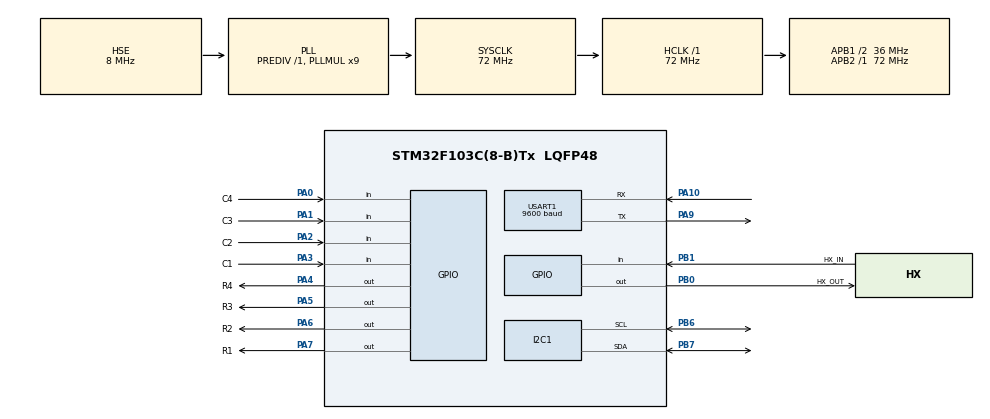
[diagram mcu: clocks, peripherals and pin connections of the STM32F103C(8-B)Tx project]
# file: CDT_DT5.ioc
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Mcu.Family=STM32F1
Mcu.Name=STM32F103C(8-B)Tx
Mcu.Package=LQFP48
NVIC.PriorityGroup=NVIC_PRIORITYGROUP_4
PA0-WKUP.GPIO_Label=C4
PA0-WKUP.GPIO_PuPd=GPIO_PULLUP
PA0-WKUP.Signal=GPIO_Input
PA1.GPIO_Label=C3
PA1.GPIO_PuPd=GPIO_PULLUP
PA1.Signal=GPIO_Input
PA10.Mode=Asynchronous
PA10.Signal=USART1_RX
PA13.Mode=Serial_Wire
PA13.Signal=SYS_JTMS-SWDIO
PA14.Mode=Serial_Wire
PA14.Signal=SYS_JTCK-SWCLK
PA2.GPIO_Label=C2
PA2.GPIO_PuPd=GPIO_PULLUP
PA2.Signal=GPIO_Input
PA3.GPIO_Label=C1
PA3.GPIO_PuPd=GPIO_PULLUP
PA3.Signal=GPIO_Input
PA4.GPIO_Label=R4
PA4.Signal=GPIO_Output
PA5.GPIO_Label=R3
PA5.Signal=GPIO_Output
PA6.GPIO_Label=R2
PA6.Signal=GPIO_Output
PA7.GPIO_Label=R1
PA7.Signal=GPIO_Output
PA9.Mode=Asynchronous
PA9.Signal=USART1_TX
PB0.GPIO_Label=HX_OUT
PB0.Signal=GPIO_Output
PB1.GPIO_Label=HX_IN
PB1.Signal=GPIO_Input
PB6.Mode=I2C
PB6.Signal=I2C1_SCL
PB7.Mode=I2C
PB7.Signal=I2C1_SDA
PD0-OSC_IN.Mode=HSE-External-Oscillator
PD0-OSC_IN.Signal=RCC_OSC_IN
PD1-OSC_OUT.Mode=HSE-External-Oscillator
PD1-OSC_OUT.Signal=RCC_OSC_OUT
ProjectManager.HeapSize=0x200
ProjectManager.StackSize=0x400
ProjectManager.TargetToolchain=MDK-ARM V5.32
RCC.AHBFreq_Value=72000000
RCC.APB1CLKDivider=RCC_HCLK_DIV2
RCC.APB1Freq_Value=36000000
RCC.APB1TimFreq_Value=72000000
RCC.APB2Freq_Value=72000000
RCC.APB2TimFreq_Value=72000000
RCC.HCLKFreq_Value=72000000
RCC.PLLMUL=RCC_PLL_MUL9
RCC.PLLSourceVirtual=RCC_PLLSOURCE_HSE
RCC.SYSCLKFreq_VALUE=72000000
RCC.SYSCLKSource=RCC_SYSCLKSOURCE_PLLCLK
RCC.USBFreq_Value=72000000
USART1.BaudRate=9600
USART1.VirtualMode=VM_ASYNC
VP_TIM1_VS_ClockSourceINT.Mode=Internal
board=custom

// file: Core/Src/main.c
/* USER CODE BEGIN Header */
/**
  ******************************************************************************
  * @file           : main.c
  * @brief          : Main program body
  ******************************************************************************
  * @attention
  *
  * Copyright (c) 2024 STMicroelectronics.
  * All rights reserved.
  *
  * This software is licensed under terms that can be found in the LICENSE file
  * in the root directory of this software component.
  * If no LICENSE file comes with this software, it is provided AS-IS.
  *
  ******************************************************************************
  */
/* USER CODE END Header */
#include "main.h"

/* USER CODE BEGIN Includes */
#include "fonts.h"
#include "ssd1306.h"
#include "Keypad.h"
#include "hx711.h"
#include <stdio.h>
#include <string.h>
/* USER CODE END Includes */

I2C_HandleTypeDef hi2c1;

TIM_HandleTypeDef htim1;

UART_HandleTypeDef huart1;

/* USER CODE BEGIN PV */
hx711_t loadcell;
float weight=0.0;
float unit_price = 0.00;
float total_price=0.00;

int flag_total = 0;
float temp_price = 0.0;

static int in_add_mode = 0;
/* USER CODE END PV */

void SystemClock_Config(void);
static void MX_GPIO_Init(void);
static void MX_TIM1_Init(void);
static void MX_USART1_UART_Init(void);
static void MX_I2C1_Init(void);

int main(void)
{

  /* MCU Configuration--------------------------------------------------------*/

  /* Reset of all peripherals, Initializes the Flash interface and the Systick. */
  HAL_Init();

  /* Configure the system clock */
  SystemClock_Config();

  /* Initialize all configured peripherals */
  MX_GPIO_Init();
  MX_TIM1_Init();
  MX_USART1_UART_Init();
  MX_I2C1_Init();
  /* USER CODE BEGIN 2 */
  // HX7111
  hx711_init(&loadcell, HX_OUT_GPIO_Port, HX_OUT_Pin, HX_IN_GPIO_Port, HX_IN_Pin);
  hx711_coef_set(&loadcell, 36057.14);
  hx711_tare(&loadcell, 10);

  SSD1306_Init();
  /* USER CODE END 2 */

  /* Infinite loop */
  while (1)
  {

    /* USER CODE BEGIN 3 */

	  weight = hx711_weight(&loadcell, 10) - 22.33;
	  if(weight <= 0.0)
	  {
		  weight = 0.0;
	  }
	  SSD1306_UpdateScreen();

	  SSD1306_GotoXY (0, 0);
	  SSD1306_Puts("Wei:", &Font_11x18, 1);
	  SSD1306_Display_Hx (weight, &Font_11x18, 1);
//	  SSD1306_UpdateScreen();
	  SSD1306_GotoXY (0, 20);
	  SSD1306_Puts("Unit:", &Font_11x18, 1);
	  SSD1306_UpdateScreen();
	  get_keypad(&unit_price, weight);

	  SSD1306_Display_Unit (unit_price, &Font_11x18, 1);
	  if(unit_price < 1.0){
		  SSD1306_Puts("               ", &Font_11x18, 1);
	  }
	  SSD1306_UpdateScreen();

	  SSD1306_GotoXY (0, 40);
	  SSD1306_Puts("Total:", &Font_11x18, 1);
	  if(flag_total == 0)
	  {
		  total_price = weight * unit_price;
	  }
	  else
	  {
		  total_price = temp_price;

	  }
	  SSD1306_Display_Price (total_price, &Font_11x18, 1);
	  if(total_price < 1.0){
		  SSD1306_Puts("               ", &Font_11x18, 1);
	  }
	  SSD1306_UpdateScreen();
  }
  /* USER CODE END 3 */
}

void SystemClock_Config(void)
{
  RCC_OscInitTypeDef RCC_OscInitStruct = {0};
  RCC_ClkInitTypeDef RCC_ClkInitStruct = {0};

  /** Initializes the RCC Oscillators according to the specified parameters
  * in the RCC_OscInitTypeDef structure.
  */
  RCC_OscInitStruct.OscillatorType = RCC_OSCILLATORTYPE_HSE;
  RCC_OscInitStruct.HSEState = RCC_HSE_ON;
  RCC_OscInitStruct.HSEPredivValue = RCC_HSE_PREDIV_DIV1;
  RCC_OscInitStruct.HSIState = RCC_HSI_ON;
  RCC_OscInitStruct.PLL.PLLState = RCC_PLL_ON;
  RCC_OscInitStruct.PLL.PLLSource = RCC_PLLSOURCE_HSE;
  RCC_OscInitStruct.PLL.PLLMUL = RCC_PLL_MUL9;
  if (HAL_RCC_OscConfig(&RCC_OscInitStruct) != HAL_OK)
  {
    Error_Handler();
  }

  /** Initializes the CPU, AHB and APB buses clocks
  */
  RCC_ClkInitStruct.ClockType = RCC_CLOCKTYPE_HCLK|RCC_CLOCKTYPE_SYSCLK
                              |RCC_CLOCKTYPE_PCLK1|RCC_CLOCKTYPE_PCLK2;
  RCC_ClkInitStruct.SYSCLKSource = RCC_SYSCLKSOURCE_PLLCLK;
  RCC_ClkInitStruct.AHBCLKDivider = RCC_SYSCLK_DIV1;
  RCC_ClkInitStruct.APB1CLKDivider = RCC_HCLK_DIV2;
  RCC_ClkInitStruct.APB2CLKDivider = RCC_HCLK_DIV1;

  if (HAL_RCC_ClockConfig(&RCC_ClkInitStruct, FLASH_LATENCY_2) != HAL_OK)
  {
    Error_Handler();
  }
}

static void MX_I2C1_Init(void)
{

  hi2c1.Instance = I2C1;
  hi2c1.Init.ClockSpeed = 100000;
  hi2c1.Init.DutyCycle = I2C_DUTYCYCLE_2;
  hi2c1.Init.OwnAddress1 = 0;
  hi2c1.Init.AddressingMode = I2C_ADDRESSINGMODE_7BIT;
  hi2c1.Init.DualAddressMode = I2C_DUALADDRESS_DISABLE;
  hi2c1.Init.OwnAddress2 = 0;
  hi2c1.Init.GeneralCallMode = I2C_GENERALCALL_DISABLE;
  hi2c1.Init.NoStretchMode = I2C_NOSTRETCH_DISABLE;
  if (HAL_I2C_Init(&hi2c1) != HAL_OK)
  {
    Error_Handler();
  }

}

static void MX_TIM1_Init(void)
{

  TIM_ClockConfigTypeDef sClockSourceConfig = {0};
  TIM_MasterConfigTypeDef sMasterConfig = {0};

  htim1.Instance = TIM1;
  htim1.Init.Prescaler = 0;
  htim1.Init.CounterMode = TIM_COUNTERMODE_UP;
  htim1.Init.Period = 65535;
  htim1.Init.ClockDivision = TIM_CLOCKDIVISION_DIV1;
  htim1.Init.RepetitionCounter = 0;
  htim1.Init.AutoReloadPreload = TIM_AUTORELOAD_PRELOAD_DISABLE;
  if (HAL_TIM_Base_Init(&htim1) != HAL_OK)
  {
    Error_Handler();
  }
  sClockSourceConfig.ClockSource = TIM_CLOCKSOURCE_INTERNAL;
  if (HAL_TIM_ConfigClockSource(&htim1, &sClockSourceConfig) != HAL_OK)
  {
    Error_Handler();
  }
  sMasterConfig.MasterOutputTrigger = TIM_TRGO_RESET;
  sMasterConfig.MasterSlaveMode = TIM_MASTERSLAVEMODE_DISABLE;
  if (HAL_TIMEx_MasterConfigSynchronization(&htim1, &sMasterConfig) != HAL_OK)
  {
    Error_Handler();
  }

}

static void MX_USART1_UART_Init(void)
{

  huart1.Instance = USART1;
  huart1.Init.BaudRate = 9600;
  huart1.Init.WordLength = UART_WORDLENGTH_8B;
  huart1.Init.StopBits = UART_STOPBITS_1;
  huart1.Init.Parity = UART_PARITY_NONE;
  huart1.Init.Mode = UART_MODE_TX_RX;
  huart1.Init.HwFlowCtl = UART_HWCONTROL_NONE;
  huart1.Init.OverSampling = UART_OVERSAMPLING_16;
  if (HAL_UART_Init(&huart1) != HAL_OK)
  {
    Error_Handler();
  }

}

static void MX_GPIO_Init(void)
{
  GPIO_InitTypeDef GPIO_InitStruct = {0};

  /* GPIO Ports Clock Enable */
  __HAL_RCC_GPIOD_CLK_ENABLE();
  __HAL_RCC_GPIOA_CLK_ENABLE();
  __HAL_RCC_GPIOB_CLK_ENABLE();

  /*Configure GPIO pin Output Level */
  HAL_GPIO_WritePin(GPIOA, R4_Pin|R3_Pin|R2_Pin|R1_Pin, GPIO_PIN_RESET);

  /*Configure GPIO pin Output Level */
  HAL_GPIO_WritePin(HX_OUT_GPIO_Port, HX_OUT_Pin, GPIO_PIN_RESET);

  /*Configure GPIO pins : C4_Pin C3_Pin C2_Pin C1_Pin */
  GPIO_InitStruct.Pin = C4_Pin|C3_Pin|C2_Pin|C1_Pin;
  GPIO_InitStruct.Mode = GPIO_MODE_INPUT;
  GPIO_InitStruct.Pull = GPIO_PULLUP;
  HAL_GPIO_Init(GPIOA, &GPIO_InitStruct);

  /*Configure GPIO pins : R4_Pin R3_Pin R2_Pin R1_Pin */
  GPIO_InitStruct.Pin = R4_Pin|R3_Pin|R2_Pin|R1_Pin;
  GPIO_InitStruct.Mode = GPIO_MODE_OUTPUT_PP;
  GPIO_InitStruct.Pull = GPIO_NOPULL;
  GPIO_InitStruct.Speed = GPIO_SPEED_FREQ_LOW;
  HAL_GPIO_Init(GPIOA, &GPIO_InitStruct);

  /*Configure GPIO pin : HX_OUT_Pin */
  GPIO_InitStruct.Pin = HX_OUT_Pin;
  GPIO_InitStruct.Mode = GPIO_MODE_OUTPUT_PP;
  GPIO_InitStruct.Pull = GPIO_NOPULL;
  GPIO_InitStruct.Speed = GPIO_SPEED_FREQ_LOW;
  HAL_GPIO_Init(HX_OUT_GPIO_Port, &GPIO_InitStruct);

  /*Configure GPIO pin : HX_IN_Pin */
  GPIO_InitStruct.Pin = HX_IN_Pin;
  GPIO_InitStruct.Mode = GPIO_MODE_INPUT;
  GPIO_InitStruct.Pull = GPIO_NOPULL;
  HAL_GPIO_Init(HX_IN_GPIO_Port, &GPIO_InitStruct);

}

void Error_Handler(void)
{
  __disable_irq();
  while (1)
  {
  }
}
